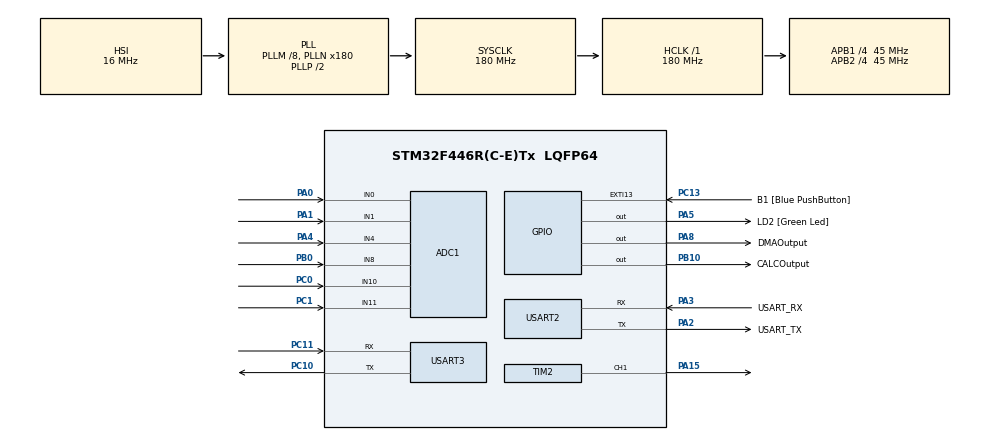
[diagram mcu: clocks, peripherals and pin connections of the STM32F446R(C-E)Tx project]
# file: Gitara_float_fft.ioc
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ADC1.Channel-0\#ChannelRegularConversion=ADC_CHANNEL_0
ADC1.Channel-1\#ChannelRegularConversion=ADC_CHANNEL_1
ADC1.Channel-2\#ChannelRegularConversion=ADC_CHANNEL_4
ADC1.Channel-3\#ChannelRegularConversion=ADC_CHANNEL_8
ADC1.Channel-4\#ChannelRegularConversion=ADC_CHANNEL_11
ADC1.Channel-5\#ChannelRegularConversion=ADC_CHANNEL_10
ADC1.ExternalTrigConv=ADC_EXTERNALTRIGCONV_T2_TRGO
ADC1.ExternalTrigConvEdge=ADC_EXTERNALTRIGCONVEDGE_RISINGFALLING
ADC1.NbrOfConversion=6
ADC1.NbrOfConversionFlag=1
ADC1.Rank-0\#ChannelRegularConversion=1
ADC1.Rank-1\#ChannelRegularConversion=2
ADC1.Rank-2\#ChannelRegularConversion=3
ADC1.Rank-3\#ChannelRegularConversion=4
ADC1.Rank-4\#ChannelRegularConversion=5
ADC1.Rank-5\#ChannelRegularConversion=6
ADC1.SamplingTime-0\#ChannelRegularConversion=ADC_SAMPLETIME_112CYCLES
ADC1.SamplingTime-1\#ChannelRegularConversion=ADC_SAMPLETIME_112CYCLES
ADC1.SamplingTime-2\#ChannelRegularConversion=ADC_SAMPLETIME_112CYCLES
ADC1.SamplingTime-3\#ChannelRegularConversion=ADC_SAMPLETIME_112CYCLES
ADC1.SamplingTime-4\#ChannelRegularConversion=ADC_SAMPLETIME_112CYCLES
ADC1.SamplingTime-5\#ChannelRegularConversion=ADC_SAMPLETIME_112CYCLES
ADC1.master=1
Dma.ADC1.0.Direction=DMA_PERIPH_TO_MEMORY
Dma.ADC1.0.FIFOMode=DMA_FIFOMODE_DISABLE
Dma.ADC1.0.Instance=DMA2_Stream0
Dma.ADC1.0.MemDataAlignment=DMA_MDATAALIGN_HALFWORD
Dma.ADC1.0.MemInc=DMA_MINC_ENABLE
Dma.ADC1.0.Mode=DMA_CIRCULAR
Dma.ADC1.0.PeriphDataAlignment=DMA_PDATAALIGN_HALFWORD
Dma.ADC1.0.PeriphInc=DMA_PINC_DISABLE
Dma.ADC1.0.Priority=DMA_PRIORITY_LOW
Dma.Request0=ADC1
Dma.Request1=USART3_TX
Dma.USART3_TX.1.Direction=DMA_MEMORY_TO_PERIPH
Dma.USART3_TX.1.FIFOMode=DMA_FIFOMODE_DISABLE
Dma.USART3_TX.1.Instance=DMA1_Stream3
Dma.USART3_TX.1.MemDataAlignment=DMA_MDATAALIGN_BYTE
Dma.USART3_TX.1.MemInc=DMA_MINC_ENABLE
Dma.USART3_TX.1.Mode=DMA_NORMAL
Dma.USART3_TX.1.PeriphDataAlignment=DMA_PDATAALIGN_BYTE
Dma.USART3_TX.1.PeriphInc=DMA_PINC_DISABLE
Dma.USART3_TX.1.Priority=DMA_PRIORITY_LOW
Mcu.Family=STM32F4
Mcu.Name=STM32F446R(C-E)Tx
Mcu.Package=LQFP64
NVIC.DMA1_Stream3_IRQn=true\:0\:0\:false\:false\:true\:false\:true\:true
NVIC.DMA2_Stream0_IRQn=true\:0\:0\:false\:false\:true\:false\:true\:true
NVIC.PriorityGroup=NVIC_PRIORITYGROUP_0
NVIC.USART2_IRQn=true\:0\:0\:false\:false\:true\:true\:true\:true
NVIC.USART3_IRQn=true\:0\:0\:false\:false\:true\:true\:true\:true
PA0-WKUP.Signal=ADCx_IN0
PA1.Signal=ADCx_IN1
PA13.GPIO_Label=TMS
PA13.Mode=Serial_Wire
PA13.Signal=SYS_JTMS-SWDIO
PA14.GPIO_Label=TCK
PA14.Mode=Serial_Wire
PA14.Signal=SYS_JTCK-SWCLK
PA15.Signal=S_TIM2_CH1_ETR
PA2.GPIO_Label=USART_TX
PA2.Mode=Asynchronous
PA2.Signal=USART2_TX
PA3.GPIO_Label=USART_RX
PA3.Mode=Asynchronous
PA3.Signal=USART2_RX
PA4.Signal=ADCx_IN4
PA5.GPIO_Label=LD2 [Green Led]
PA5.Signal=GPIO_Output
PA8.GPIO_Label=DMAOutput
PA8.GPIO_Speed=GPIO_SPEED_FREQ_MEDIUM
PA8.Signal=GPIO_Output
PB0.Signal=ADCx_IN8
PB10.GPIO_Label=CALCOutput
PB10.Signal=GPIO_Output
PB3.GPIO_Label=SWO
PB3.Signal=SYS_JTDO-SWO
PC0.Signal=ADCx_IN10
PC1.Signal=ADCx_IN11
PC10.Mode=Asynchronous
PC10.Signal=USART3_TX
PC11.Mode=Asynchronous
PC11.Signal=USART3_RX
PC13.GPIO_Label=B1 [Blue PushButton]
PC13.GPIO_ModeDefaultEXTI=GPIO_MODE_IT_FALLING
PC13.Signal=GPXTI13
PC14-OSC32_IN.Mode=LSE-External-Oscillator
PC14-OSC32_IN.Signal=RCC_OSC32_IN
PC15-OSC32_OUT.Mode=LSE-External-Oscillator
PC15-OSC32_OUT.Signal=RCC_OSC32_OUT
PH0-OSC_IN.Mode=HSE-External-Oscillator
PH0-OSC_IN.Signal=RCC_OSC_IN
PH1-OSC_OUT.Mode=HSE-External-Oscillator
PH1-OSC_OUT.Signal=RCC_OSC_OUT
ProjectManager.HeapSize=0x200
ProjectManager.StackSize=0x400
ProjectManager.TargetToolchain=STM32CubeIDE
RCC.48MHZClocksFreq_Value=84000000
RCC.AHBFreq_Value=180000000
RCC.APB1CLKDivider=RCC_HCLK_DIV4
RCC.APB1Freq_Value=45000000
RCC.APB1TimFreq_Value=90000000
RCC.APB2CLKDivider=RCC_HCLK_DIV4
RCC.APB2Freq_Value=45000000
RCC.APB2TimFreq_Value=90000000
RCC.CortexFreq_Value=180000000
RCC.FLatency-AdvancedSettings=FLASH_LATENCY_5
RCC.HCLKFreq_Value=180000000
RCC.HSE_VALUE=8000000
RCC.HSI_VALUE=16000000
RCC.PLLM=8
RCC.PLLN=180
RCC.SYSCLKFreq_VALUE=180000000
RCC.SYSCLKSource=RCC_SYSCLKSOURCE_PLLCLK
RCC.USBFreq_Value=180000000
RCC.VCOOutputFreq_Value=360000000
SH.ADCx_IN0.0=ADC1_IN0,IN0
SH.ADCx_IN1.0=ADC1_IN1,IN1
SH.ADCx_IN10.0=ADC1_IN10,IN10
SH.ADCx_IN11.0=ADC1_IN11,IN11
SH.ADCx_IN4.0=ADC1_IN4,IN4
SH.ADCx_IN8.0=ADC1_IN8,IN8
SH.S_TIM2_CH1_ETR.0=TIM2_CH1,Output Compare1 CH1
TIM2.Channel-Output\ Compare1\ CH1=TIM_CHANNEL_1
TIM2.OC1Preload=DISABLE
TIM2.OCMode_1=TIM_OCMODE_TOGGLE
TIM2.Period=149
TIM2.Prescaler=59
TIM2.Pulse-Output\ Compare1\ CH1=0
TIM2.TIM_MasterOutputTrigger=TIM_TRGO_UPDATE
USART2.VirtualMode=VM_ASYNC
USART3.VirtualMode=VM_ASYNC
VP_TIM2_VS_ClockSourceINT.Mode=Internal
board=NUCLEO-F446RE

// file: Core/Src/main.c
/* USER CODE BEGIN Header */
/**
  ******************************************************************************
  * @file           : main.c
  * @brief          : Main program body
  ******************************************************************************
  * @attention
  *
  * Copyright (c) 2023 STMicroelectronics.
  * All rights reserved.
  *
  * This software is licensed under terms that can be found in the LICENSE file
  * in the root directory of this software component.
  * If no LICENSE file comes with this software, it is provided AS-IS.
  *
  ******************************************************************************
  */
/* USER CODE END Header */
#include "main.h"

/* USER CODE BEGIN Includes */
#include <stdio.h>
#include <stdlib.h>
#define ARM_MATH_CM4
#include "arm_math.h"
/* USER CODE END Includes */

ADC_HandleTypeDef hadc1;
DMA_HandleTypeDef hdma_adc1;

TIM_HandleTypeDef htim2;

UART_HandleTypeDef huart2;
UART_HandleTypeDef huart3;
DMA_HandleTypeDef hdma_usart3_tx;

/* USER CODE BEGIN PV */
#define DMABUFLEN 3076
#define BUFLEN 256
#define FFTBUFLEN 2048
volatile static uint16_t dmaBuffer[DMABUFLEN] = {0};
float32_t hannWindow1[BUFLEN];
float32_t hannWindow2[2*BUFLEN];
float32_t hannWindow3[BUFLEN/2];
uint16_t signal0[2*BUFLEN];
float32_t signal0filtered[2*BUFLEN];
uint16_t signal1[2*BUFLEN];
float32_t signal1filtered[2*BUFLEN];
uint16_t signal2[2*BUFLEN];
float32_t signal2filtered[2*BUFLEN];
uint16_t signal3[BUFLEN/2];
float32_t signal3filtered[BUFLEN/2];
uint16_t signal4[BUFLEN];
float32_t signal4filtered[BUFLEN];
uint16_t signal5[BUFLEN];
float32_t signal5filtered[BUFLEN];
uint16_t signalbuffer0[2*BUFLEN];
uint16_t signalbuffer1[2*BUFLEN];
uint16_t signalbuffer2[2*BUFLEN];
uint16_t signalbuffer3[2*BUFLEN];
uint16_t signalbuffer4[2*BUFLEN];
uint16_t signalbuffer5[2*BUFLEN];
float32_t signalfilteredbuffer0[2*BUFLEN];
float32_t signalfilteredbuffer1[2*BUFLEN];
float32_t signalfilteredbuffer2[2*BUFLEN];
float32_t signalfilteredbuffer3[2*BUFLEN];
float32_t signalfilteredbuffer4[2*BUFLEN];
float32_t signalfilteredbuffer5[2*BUFLEN];
uint16_t maxpp[6];
uint16_t maxpp0 = 0;
uint16_t maxpp1 = 0;
uint16_t maxpp2 = 0;
uint16_t maxpp3 = 0;
uint16_t maxpp4 = 0;
uint16_t maxpp5 = 0;
uint16_t fund[6];
float32_t fundamental0 = 0;
float32_t fundamental1 = 0;
float32_t fundamental2 = 0;
float32_t fundamental3 = 0;
float32_t fundamental4 = 0;
float32_t fundamental5 = 0;
uint8_t signalnumber = 0;
uint32_t print = 0;

uint16_t FreqNotes[47] = {
  78, 82, 87, 93, 98, 104, 110, 116, 124, 130, 139, 147, 155, 165, 175, 185, 196, 208, 220, 233, 247, 262, 277, 293, 311, 330, 349, 370, 392,
  415, 440, 466, 494, 523, 554, 587, 622, 659, 698, 740, 784, 831, 880, 932, 988, 1047, 1109
};
uint16_t FreqRange[46];
uint16_t NoteNew[6];
uint16_t NoteOld[6];
uint16_t maxppOld[6];
int16_t Delta[6];
uint8_t txBuffer[6];
//uint16_t Treshold[6] = {1000, 1000, 1000, 1000, 1000, 1000};
uint16_t Treshold[6] = {800, 800, 800, 400, 750, 650};

uint8_t FIR_LENGHT = 31;
float32_t fir_coefficients10k[31]  = {-0.0021043, 0.0000019, 0.0046466, -0.0000007, -0.0094219, 0.0000029, 0.0172049, -0.0000020, -0.0297785, 0.0000052, 0.0515218, -0.0000041, -0.0984164, 0.0000048, 0.3156787, 0.4999957, 0.3156787, 0.0000048, -0.0984164, -0.0000041, 0.0515218, 0.0000052, -0.0297785, -0.0000020, 0.0172049, 0.0000029, -0.0094219, -0.0000007, 0.0046466, 0.0000019, -0.0021043};
float32_t fir_coefficients5k[31]  =  {0.0005669, -0.0002630, -0.0022233, -0.0038547, -0.0018613, 0.0053228, 0.0135453, 0.0133131, -0.0027602, -0.0295939, -0.0460559, -0.0251788, 0.0457091, 0.1495368, 0.2430896, 0.2807522, 0.2430896, 0.1495368, 0.0457091, -0.0251788, -0.0460559, -0.0295939, -0.0027602, 0.0133131, 0.0135453, 0.0053228, -0.0018613, -0.0038547, -0.0022233, -0.00026530, 0.0005669};
float32_t fir_coefficients2_5k[31] = {0.0064131, 0.0057191, 0.0051066, 0.0013561, -0.0056292, -0.0145003, -0.0224276, -0.0255772, -0.0201251, -0.0035005, 0.0244877, 0.0610609, 0.1007693, 0.1365633, 0.1614632, 0.1703842, 0.1614632, 0.1365633, 0.1007693, 0.0610609, 0.0244877, -0.0035005, -0.0201251, -0.0255772, -0.0224276, -0.0145003, -0.0056292, 0.0013561, 0.0051066, 0.0057191, 0.0064131};
arm_fir_instance_f32 fir_instance0;
float32_t fir_in_arm0;
float32_t fir_out_arm0;
float32_t fir_state0[31];
arm_fir_instance_f32 fir_instance1;
float32_t fir_in_arm1;
float32_t fir_out_arm1;
float32_t fir_state1[31];
arm_fir_instance_f32 fir_instance2;
float32_t fir_in_arm2;
float32_t fir_out_arm2;
float32_t fir_state2[31];
arm_fir_instance_f32 fir_instance3;
float32_t fir_in_arm3;
float32_t fir_out_arm3;
float32_t fir_state3[31];
arm_fir_instance_f32 fir_instance4;
float32_t fir_in_arm4;
float32_t fir_out_arm4;
float32_t fir_state4[31];
arm_fir_instance_f32 fir_instance5;
float32_t fir_in_arm5;
float32_t fir_out_arm5;
float32_t fir_state5[31];
/* USER CODE END PV */

void SystemClock_Config(void);
static void MX_GPIO_Init(void);
static void MX_DMA_Init(void);
static void MX_USART2_UART_Init(void);
static void MX_ADC1_Init(void);
static void MX_TIM2_Init(void);
static void MX_USART3_UART_Init(void);
/* USER CODE BEGIN PFP */
void filter(uint16_t inputArray[], uint16_t size, float32_t coefficients[], uint16_t outputArray[], uint16_t lastSamples[]);
void calculateCORR(uint16_t inputArray[], uint16_t size, uint16_t* maxpp, float32_t* fundamental, uint16_t fs);
void calculateFFT(float32_t inputArray[], uint16_t size, uint16_t* maxpp, float32_t* fundamental, uint16_t fs);
void calculateZC(uint16_t inputArray[], uint16_t size, uint16_t* maxpp, float32_t* fundamental, uint16_t fs);
void calculateNoll(uint16_t inputArray[], uint16_t size, uint16_t* maxpp, float32_t* fundamental, uint16_t fs);
void FundamentalToNote(uint16_t FundamentalNew[], uint16_t NoteNew[6], uint16_t FreqRange[46]);
/* USER CODE END PFP */

/* USER CODE BEGIN 0 */
int __io_putchar(int ch)
{
  if (ch == '\n') {
    __io_putchar('\r');
  }

  HAL_UART_Transmit(&huart2, (uint8_t*)&ch, 1, HAL_MAX_DELAY);

  return 1;
}

void calculateFFT(float32_t inputArray[], uint16_t size, uint16_t* maxpp, float32_t* fundamental, uint16_t fs) {
	// Zmiana stanu na pinie PB10 Debug
	HAL_GPIO_TogglePin(CALCOutput_GPIO_Port, CALCOutput_Pin);
	//Przekonwertowanie sygnału z uint16 na float32
    float32_t signal_float32[size];
	for (int i = 0; i < size; i++){
		signal_float32[i] = inputArray[i];
	}
	//Obliczenie wartości średniej sygnału/składowej stałej oraz jej odjęcie
    float32_t mean = 0.0f;
    arm_mean_f32(signal_float32, size,  &mean);
    arm_offset_f32(signal_float32, -mean, signal_float32, size);
    //Nałożenie okna Hanna na sygnał
    float32_t signal_filtered[size];
	if(size==BUFLEN){
		arm_mult_f32(signal_float32, hannWindow1, signal_filtered, size);
	}else if(size==2*BUFLEN)
		arm_mult_f32(signal_float32, hannWindow2, signal_filtered, size);
	else arm_mult_f32(signal_float32, hannWindow3, signal_filtered, size);
	//Znalezienie wartości międzyszczytowych
	float32_t max;
	float32_t min;
	uint32_t maxIndex;
	uint32_t minIndex;
	arm_max_f32(signal_filtered, size, &max, &maxIndex);
	arm_min_f32(signal_filtered, size, &min, &minIndex);

	//Obliczenie FFT
	float32_t signal_fft[FFTBUFLEN] = {0};
	for(int i = 0; i<size; i++)
		signal_fft[i]=signal_filtered[i];

	float32_t fft_Bufor[FFTBUFLEN];
	arm_rfft_fast_instance_f32 rfft_inst;
	arm_rfft_fast_init_f32(&rfft_inst, FFTBUFLEN);

	arm_rfft_fast_f32(&rfft_inst, signal_fft, fft_Bufor, 0);

	//Obliczenie amplitud poszczególnych prążków
	float32_t fft_wynik[FFTBUFLEN/2];
		float32_t fft_max = 0;
		uint16_t fft_max_index = 0;
		for(int i = 12; i < (FFTBUFLEN/2); i++){
			fft_wynik[i]=sqrtf((fft_Bufor[2*i]*fft_Bufor[2*i])+(fft_Bufor[2*i+1]*fft_Bufor[2*i+1]));
			if(fft_wynik[i]>fft_max){
				fft_max=fft_wynik[i];
				fft_max_index = i;
			}
		}
		//Normalizacja wyniku FFT
		for(int i = 0; i < (FFTBUFLEN/2); i++){
				fft_wynik[i]=fft_wynik[i]/fft_max;
			}
//		for(int i = 0; i < (FFTBUFLEN/2); i++){
//					if(fft_wynik[i]< 0.3)
//						fft_wynik[i] = 0;
//				}
		//Odnalezienie indeksu częstotliwości podstawowej
		if(fft_max_index > 0){
		while ((fft_wynik[fft_max_index / 2] > 0.50) || (fft_wynik[fft_max_index / 2 - 1] > 0.50) || (fft_wynik[fft_max_index / 2 + 1] > 0.50)) {
			fft_max_index /= 2;
		}
		}
		while (fft_max_index > 0
				&& fft_wynik[fft_max_index + 1] > fft_wynik[fft_max_index]) {
			fft_max_index++;
		}
		while (fft_max_index > 0
				&& fft_wynik[fft_max_index - 1] > fft_wynik[fft_max_index]) {
			fft_max_index--;
		}
		if(fft_max_index > 0){
		while ((fft_wynik[fft_max_index / 3] > 0.50) || (fft_wynik[fft_max_index / 3 - 1] > 0.50) || (fft_wynik[fft_max_index / 3 + 1] > 0.50)) {
			fft_max_index /= 3;
		}
		}
		while (fft_max_index > 0
				&& fft_wynik[fft_max_index + 1] > fft_wynik[fft_max_index]) {
			fft_max_index++;
		}
		while (fft_max_index > 0
				&& fft_wynik[fft_max_index - 1] > fft_wynik[fft_max_index]) {
			fft_max_index--;
		}
		if(fft_max_index > 0){
		while ((fft_wynik[fft_max_index / 4] > 0.50) || (fft_wynik[fft_max_index / 4 - 1] > 0.50) || (fft_wynik[fft_max_index / 4 + 1] > 0.50)) {
			fft_max_index /= 4;
		}
		}
		while (fft_max_index > 0
				&& fft_wynik[fft_max_index + 1] > fft_wynik[fft_max_index]) {
			fft_max_index++;
		}
		while (fft_max_index > 0
				&& fft_wynik[fft_max_index - 1] > fft_wynik[fft_max_index]) {
			fft_max_index--;
		}
		float32_t fundamental_freq = (((float32_t)fft_max_index) * (float32_t)fs / (float32_t)FFTBUFLEN);

		int16_t peak_to_peak_value = max - min;
		*maxpp = peak_to_peak_value;
		*fundamental = fundamental_freq;

//	if (peak_to_peak_value > 1500) {
//		printf("fft\n");
//		for (int i = 0; i < FFTBUFLEN / 2; i++)
//			printf("%.2f,", fft_wynik[i]);
//		printf("\nkoniec fft\n");
//		printf("max_index = %lu \n", fft_max_index);
//		printf("signalfiltered\n");
//		for (int i = 0; i < size; i++)
//			printf("%.2f,", signal_filtered[i]);
//		printf("\nkoniec signalfiltered\n");
//	}

//		if(print > 0){
//	printf("fft\n");
//	for (int i = 0; i < FFTBUFLEN/2; i++)
//		printf("%.2f,", fft_wynik[i]);
//	printf("\nkoniec fft\n");
//	printf("max_index = %lu \n", fft_max_index);
//	printf("signalfiltered\n");
//	for (int i = 0; i < size; i++)
//		printf("%.2f,", signal_filtered[i]);
//	printf("\nkoniec signalfiltered\n");
//		}
}

void FundamentalToNote(uint16_t FundamentalNew[], uint16_t NoteNew[6], uint16_t FreqRange[46]) {
  for (int i = 0; i < 6; i++) {
    int note = 0;
    for (int j = 0; j < 46; j++) {
      if (FundamentalNew[i] >= FreqRange[j] && FundamentalNew[i] < FreqRange[j + 1]) {
        note = j;  // Przypisz odpowiednią notę
        break;  // Przerwij pętlę po znalezieniu odpowiedniego zakresu
      }
    }

    NoteNew[i] = note;
  }
}
/* USER CODE END 0 */

int main(void)
{

  /* MCU Configuration--------------------------------------------------------*/

  /* Reset of all peripherals, Initializes the Flash interface and the Systick. */
  HAL_Init();

  /* Configure the system clock */
  SystemClock_Config();

  /* Initialize all configured peripherals */
  MX_GPIO_Init();
  MX_DMA_Init();
  MX_USART2_UART_Init();
  MX_ADC1_Init();
  MX_TIM2_Init();
  MX_USART3_UART_Init();
  /* USER CODE BEGIN 2 */
  arm_fir_init_f32(&fir_instance0, FIR_LENGHT, fir_coefficients10k, fir_state0, 1);
  arm_fir_init_f32(&fir_instance1, FIR_LENGHT, fir_coefficients10k, fir_state1, 1);
  arm_fir_init_f32(&fir_instance2, FIR_LENGHT, fir_coefficients10k, fir_state2, 1);
  arm_fir_init_f32(&fir_instance3, FIR_LENGHT, fir_coefficients2_5k, fir_state3, 1);
  arm_fir_init_f32(&fir_instance4, FIR_LENGHT, fir_coefficients5k, fir_state4, 1);
  arm_fir_init_f32(&fir_instance5, FIR_LENGHT, fir_coefficients5k, fir_state5, 1);

  for(int i = 0; i < 46; i++){
	  FreqRange[i] = (FreqNotes[i] + FreqNotes[i+1])/2;
  }
  for(int i = 0; i < BUFLEN; i++){
	  hannWindow1[i] = (0.5 - (0.5 * cos ( (2.0 * PI * i) / (BUFLEN - 1))));
  }
  for(int i = 0; i < 2*BUFLEN; i++){
  	  hannWindow2[i] = (0.5 - (0.5 * cos ( (2.0 * PI * i) / (2*BUFLEN - 1))));
  }
  for(int i = 0; i < BUFLEN/2; i++){
	  hannWindow3[i] = (0.5 - (0.5 * cos ( (2.0 * PI * i) / (BUFLEN/2 - 1))));
  }

  HAL_ADC_Start_DMA(&hadc1, (uint32_t *)dmaBuffer, DMABUFLEN);
    HAL_Delay(10);
    HAL_TIM_Base_Start(&htim2);
    HAL_TIM_OC_Start(&htim2, TIM_CHANNEL_1);
  /* USER CODE END 2 */

  /* Infinite loop */
  while (1)
  {

  }
}

void SystemClock_Config(void)
{
  RCC_OscInitTypeDef RCC_OscInitStruct = {0};
  RCC_ClkInitTypeDef RCC_ClkInitStruct = {0};

  /** Configure the main internal regulator output voltage
  */
  __HAL_RCC_PWR_CLK_ENABLE();
  __HAL_PWR_VOLTAGESCALING_CONFIG(PWR_REGULATOR_VOLTAGE_SCALE1);

  /** Initializes the RCC Oscillators according to the specified parameters
  * in the RCC_OscInitTypeDef structure.
  */
  RCC_OscInitStruct.OscillatorType = RCC_OSCILLATORTYPE_HSI;
  RCC_OscInitStruct.HSIState = RCC_HSI_ON;
  RCC_OscInitStruct.HSICalibrationValue = RCC_HSICALIBRATION_DEFAULT;
  RCC_OscInitStruct.PLL.PLLState = RCC_PLL_ON;
  RCC_OscInitStruct.PLL.PLLSource = RCC_PLLSOURCE_HSI;
  RCC_OscInitStruct.PLL.PLLM = 8;
  RCC_OscInitStruct.PLL.PLLN = 180;
  RCC_OscInitStruct.PLL.PLLP = RCC_PLLP_DIV2;
  RCC_OscInitStruct.PLL.PLLQ = 2;
  RCC_OscInitStruct.PLL.PLLR = 2;
  if (HAL_RCC_OscConfig(&RCC_OscInitStruct) != HAL_OK)
  {
    Error_Handler();
  }

  /** Activate the Over-Drive mode
  */
  if (HAL_PWREx_EnableOverDrive() != HAL_OK)
  {
    Error_Handler();
  }

  /** Initializes the CPU, AHB and APB buses clocks
  */
  RCC_ClkInitStruct.ClockType = RCC_CLOCKTYPE_HCLK|RCC_CLOCKTYPE_SYSCLK
                              |RCC_CLOCKTYPE_PCLK1|RCC_CLOCKTYPE_PCLK2;
  RCC_ClkInitStruct.SYSCLKSource = RCC_SYSCLKSOURCE_PLLCLK;
  RCC_ClkInitStruct.AHBCLKDivider = RCC_SYSCLK_DIV1;
  RCC_ClkInitStruct.APB1CLKDivider = RCC_HCLK_DIV4;
  RCC_ClkInitStruct.APB2CLKDivider = RCC_HCLK_DIV4;

  if (HAL_RCC_ClockConfig(&RCC_ClkInitStruct, FLASH_LATENCY_5) != HAL_OK)
  {
    Error_Handler();
  }
}

static void MX_ADC1_Init(void)
{

  ADC_ChannelConfTypeDef sConfig = {0};

  /** Configure the global features of the ADC (Clock, Resolution, Data Alignment and number of conversion)
  */
  hadc1.Instance = ADC1;
  hadc1.Init.ClockPrescaler = ADC_CLOCK_SYNC_PCLK_DIV2;
  hadc1.Init.Resolution = ADC_RESOLUTION_12B;
  hadc1.Init.ScanConvMode = ENABLE;
  hadc1.Init.ContinuousConvMode = DISABLE;
  hadc1.Init.DiscontinuousConvMode = DISABLE;
  hadc1.Init.ExternalTrigConvEdge = ADC_EXTERNALTRIGCONVEDGE_RISINGFALLING;
  hadc1.Init.ExternalTrigConv = ADC_EXTERNALTRIGCONV_T2_TRGO;
  hadc1.Init.DataAlign = ADC_DATAALIGN_RIGHT;
  hadc1.Init.NbrOfConversion = 6;
  hadc1.Init.DMAContinuousRequests = DISABLE;
  hadc1.Init.EOCSelection = ADC_EOC_SINGLE_CONV;
  if (HAL_ADC_Init(&hadc1) != HAL_OK)
  {
    Error_Handler();
  }

  /** Configure for the selected ADC regular channel its corresponding rank in the sequencer and its sample time.
  */
  sConfig.Channel = ADC_CHANNEL_0;
  sConfig.Rank = 1;
  sConfig.SamplingTime = ADC_SAMPLETIME_112CYCLES;
  if (HAL_ADC_ConfigChannel(&hadc1, &sConfig) != HAL_OK)
  {
    Error_Handler();
  }

  /** Configure for the selected ADC regular channel its corresponding rank in the sequencer and its sample time.
  */
  sConfig.Channel = ADC_CHANNEL_1;
  sConfig.Rank = 2;
  if (HAL_ADC_ConfigChannel(&hadc1, &sConfig) != HAL_OK)
  {
    Error_Handler();
  }

  /** Configure for the selected ADC regular channel its corresponding rank in the sequencer and its sample time.
  */
  sConfig.Channel = ADC_CHANNEL_4;
  sConfig.Rank = 3;
  if (HAL_ADC_ConfigChannel(&hadc1, &sConfig) != HAL_OK)
  {
    Error_Handler();
  }

  /** Configure for the selected ADC regular channel its corresponding rank in the sequencer and its sample time.
  */
  sConfig.Channel = ADC_CHANNEL_8;
  sConfig.Rank = 4;
  if (HAL_ADC_ConfigChannel(&hadc1, &sConfig) != HAL_OK)
  {
    Error_Handler();
  }

  /** Configure for the selected ADC regular channel its corresponding rank in the sequencer and its sample time.
  */
  sConfig.Channel = ADC_CHANNEL_11;
  sConfig.Rank = 5;
  if (HAL_ADC_ConfigChannel(&hadc1, &sConfig) != HAL_OK)
  {
    Error_Handler();
  }

  /** Configure for the selected ADC regular channel its corresponding rank in the sequencer and its sample time.
  */
  sConfig.Channel = ADC_CHANNEL_10;
  sConfig.Rank = 6;
  if (HAL_ADC_ConfigChannel(&hadc1, &sConfig) != HAL_OK)
  {
    Error_Handler();
  }

}

static void MX_TIM2_Init(void)
{

  TIM_ClockConfigTypeDef sClockSourceConfig = {0};
  TIM_MasterConfigTypeDef sMasterConfig = {0};
  TIM_OC_InitTypeDef sConfigOC = {0};

  htim2.Instance = TIM2;
  htim2.Init.Prescaler = 59;
  htim2.Init.CounterMode = TIM_COUNTERMODE_UP;
  htim2.Init.Period = 149;
  htim2.Init.ClockDivision = TIM_CLOCKDIVISION_DIV1;
  htim2.Init.AutoReloadPreload = TIM_AUTORELOAD_PRELOAD_DISABLE;
  if (HAL_TIM_Base_Init(&htim2) != HAL_OK)
  {
    Error_Handler();
  }
  sClockSourceConfig.ClockSource = TIM_CLOCKSOURCE_INTERNAL;
  if (HAL_TIM_ConfigClockSource(&htim2, &sClockSourceConfig) != HAL_OK)
  {
    Error_Handler();
  }
  if (HAL_TIM_OC_Init(&htim2) != HAL_OK)
  {
    Error_Handler();
  }
  sMasterConfig.MasterOutputTrigger = TIM_TRGO_UPDATE;
  sMasterConfig.MasterSlaveMode = TIM_MASTERSLAVEMODE_DISABLE;
  if (HAL_TIMEx_MasterConfigSynchronization(&htim2, &sMasterConfig) != HAL_OK)
  {
    Error_Handler();
  }
  sConfigOC.OCMode = TIM_OCMODE_TOGGLE;
  sConfigOC.Pulse = 0;
  sConfigOC.OCPolarity = TIM_OCPOLARITY_HIGH;
  sConfigOC.OCFastMode = TIM_OCFAST_DISABLE;
  if (HAL_TIM_OC_ConfigChannel(&htim2, &sConfigOC, TIM_CHANNEL_1) != HAL_OK)
  {
    Error_Handler();
  }
  HAL_TIM_MspPostInit(&htim2);

}

static void MX_USART2_UART_Init(void)
{

  huart2.Instance = USART2;
  huart2.Init.BaudRate = 115200;
  huart2.Init.WordLength = UART_WORDLENGTH_8B;
  huart2.Init.StopBits = UART_STOPBITS_1;
  huart2.Init.Parity = UART_PARITY_NONE;
  huart2.Init.Mode = UART_MODE_TX_RX;
  huart2.Init.HwFlowCtl = UART_HWCONTROL_NONE;
  huart2.Init.OverSampling = UART_OVERSAMPLING_16;
  if (HAL_UART_Init(&huart2) != HAL_OK)
  {
    Error_Handler();
  }

}

static void MX_USART3_UART_Init(void)
{

  huart3.Instance = USART3;
  huart3.Init.BaudRate = 115200;
  huart3.Init.WordLength = UART_WORDLENGTH_8B;
  huart3.Init.StopBits = UART_STOPBITS_1;
  huart3.Init.Parity = UART_PARITY_NONE;
  huart3.Init.Mode = UART_MODE_TX_RX;
  huart3.Init.HwFlowCtl = UART_HWCONTROL_NONE;
  huart3.Init.OverSampling = UART_OVERSAMPLING_16;
  if (HAL_UART_Init(&huart3) != HAL_OK)
  {
    Error_Handler();
  }

}

static void MX_DMA_Init(void)
{

  /* DMA controller clock enable */
  __HAL_RCC_DMA2_CLK_ENABLE();
  __HAL_RCC_DMA1_CLK_ENABLE();

  /* DMA interrupt init */
  /* DMA1_Stream3_IRQn interrupt configuration */
  HAL_NVIC_SetPriority(DMA1_Stream3_IRQn, 0, 0);
  HAL_NVIC_EnableIRQ(DMA1_Stream3_IRQn);
  /* DMA2_Stream0_IRQn interrupt configuration */
  HAL_NVIC_SetPriority(DMA2_Stream0_IRQn, 0, 0);
  HAL_NVIC_EnableIRQ(DMA2_Stream0_IRQn);

}

static void MX_GPIO_Init(void)
{
  GPIO_InitTypeDef GPIO_InitStruct = {0};

  /* GPIO Ports Clock Enable */
  __HAL_RCC_GPIOC_CLK_ENABLE();
  __HAL_RCC_GPIOH_CLK_ENABLE();
  __HAL_RCC_GPIOA_CLK_ENABLE();
  __HAL_RCC_GPIOB_CLK_ENABLE();

  /*Configure GPIO pin Output Level */
  HAL_GPIO_WritePin(GPIOA, LD2_Pin|DMAOutput_Pin, GPIO_PIN_RESET);

  /*Configure GPIO pin Output Level */
  HAL_GPIO_WritePin(CALCOutput_GPIO_Port, CALCOutput_Pin, GPIO_PIN_RESET);

  /*Configure GPIO pin : B1_Pin */
  GPIO_InitStruct.Pin = B1_Pin;
  GPIO_InitStruct.Mode = GPIO_MODE_IT_FALLING;
  GPIO_InitStruct.Pull = GPIO_NOPULL;
  HAL_GPIO_Init(B1_GPIO_Port, &GPIO_InitStruct);

  /*Configure GPIO pin : LD2_Pin */
  GPIO_InitStruct.Pin = LD2_Pin;
  GPIO_InitStruct.Mode = GPIO_MODE_OUTPUT_PP;
  GPIO_InitStruct.Pull = GPIO_NOPULL;
  GPIO_InitStruct.Speed = GPIO_SPEED_FREQ_LOW;
  HAL_GPIO_Init(LD2_GPIO_Port, &GPIO_InitStruct);

  /*Configure GPIO pin : CALCOutput_Pin */
  GPIO_InitStruct.Pin = CALCOutput_Pin;
  GPIO_InitStruct.Mode = GPIO_MODE_OUTPUT_PP;
  GPIO_InitStruct.Pull = GPIO_NOPULL;
  GPIO_InitStruct.Speed = GPIO_SPEED_FREQ_LOW;
  HAL_GPIO_Init(CALCOutput_GPIO_Port, &GPIO_InitStruct);

  /*Configure GPIO pin : DMAOutput_Pin */
  GPIO_InitStruct.Pin = DMAOutput_Pin;
  GPIO_InitStruct.Mode = GPIO_MODE_OUTPUT_PP;
  GPIO_InitStruct.Pull = GPIO_NOPULL;
  GPIO_InitStruct.Speed = GPIO_SPEED_FREQ_MEDIUM;
  HAL_GPIO_Init(DMAOutput_GPIO_Port, &GPIO_InitStruct);

}

/* USER CODE BEGIN 4 */
void HAL_ADC_ConvCpltCallback(ADC_HandleTypeDef* hadc)
{
	//Zmiana stanu na pinie D7
	HAL_GPIO_TogglePin(DMAOutput_GPIO_Port, DMAOutput_Pin);

	//Rozdzielenie sygnałów do osobnych tablic
	for(uint32_t i = 0; i < 2 * BUFLEN; i++){
		signalbuffer0[i] = dmaBuffer[6 * i];
		signalbuffer1[i] = dmaBuffer[6 * i + 1];
		signalbuffer2[i] = dmaBuffer[6 * i + 2];
		signalbuffer3[i] = dmaBuffer[6 * i + 3];
		signalbuffer4[i] = dmaBuffer[6 * i + 4];
		signalbuffer5[i] = dmaBuffer[6 * i + 5];
	}

	HAL_GPIO_TogglePin(DMAOutput_GPIO_Port, DMAOutput_Pin);
	//Przefiltrowanie sygnałów
	for(int i = 0; i < 2 * BUFLEN; i++){
		fir_in_arm0 = (float32_t) signalbuffer0[i];
		fir_in_arm1 = (float32_t) signalbuffer1[i];
		fir_in_arm2 = (float32_t) signalbuffer2[i];
		fir_in_arm3 = (float32_t) signalbuffer3[i];
		fir_in_arm4 = (float32_t) signalbuffer4[i];
		fir_in_arm5 = (float32_t) signalbuffer5[i];
		arm_fir_f32(&fir_instance0, &fir_in_arm0, &fir_out_arm0, 1);
		arm_fir_f32(&fir_instance1, &fir_in_arm1, &fir_out_arm1, 1);
		arm_fir_f32(&fir_instance2, &fir_in_arm2, &fir_out_arm2, 1);
		arm_fir_f32(&fir_instance3, &fir_in_arm3, &fir_out_arm3, 1);
		arm_fir_f32(&fir_instance4, &fir_in_arm4, &fir_out_arm4, 1);
		arm_fir_f32(&fir_instance5, &fir_in_arm5, &fir_out_arm5, 1);
		signalfilteredbuffer0[i] = fir_out_arm0;
		signalfilteredbuffer1[i] = fir_out_arm1;
		signalfilteredbuffer2[i] = fir_out_arm2;
		signalfilteredbuffer3[i] = fir_out_arm3;
		signalfilteredbuffer4[i] = fir_out_arm4;
		signalfilteredbuffer5[i] = fir_out_arm5;
	}
	HAL_GPIO_TogglePin(DMAOutput_GPIO_Port, DMAOutput_Pin);
	//Decymacja
	for (int i = 0; i < 2 * BUFLEN; i++) {
		signal0filtered[i] = signalfilteredbuffer0[i];
		signal1filtered[i] = signalfilteredbuffer1[i];
		signal2filtered[i] = signalfilteredbuffer2[i];
	}
	for (int i = 0; i < BUFLEN; i++) {
		signal4filtered[i] = signalfilteredbuffer4[i*2];
		signal5filtered[i] = signalfilteredbuffer5[i*2];
	}
	for (int i = 0; i < BUFLEN / 2; i++){
		signal3filtered[i] = signalfilteredbuffer3[i*4];
	}

	//Wystartowanie kolejnego cyklu próbkowania
	HAL_ADC_Start_DMA(&hadc1, (uint32_t*) dmaBuffer, DMABUFLEN);

		//Obliczenie częstotliwości podstawowej
		calculateFFT(signal0filtered, 2*BUFLEN, &maxpp0, &fundamental0, 10000);
		fund[0] = (uint16_t)fundamental0;
		maxpp[0] = maxpp0;

		calculateFFT(signal1filtered, 2*BUFLEN, &maxpp1, &fundamental1, 10000);
		fund[1] = (uint16_t)fundamental1;
		maxpp[1] = maxpp1;

		calculateFFT(signal2filtered, 2*BUFLEN, &maxpp2, &fundamental2, 10000);
		fund[2] = (uint16_t)fundamental2;
		maxpp[2] = maxpp2;

		calculateFFT(signal3filtered, BUFLEN/2, &maxpp3, &fundamental3, 2500);
		fund[3] = (uint16_t) fundamental3;
		maxpp[3] = maxpp3;

		calculateFFT(signal4filtered, BUFLEN, &maxpp4, &fundamental4, 5000);
		fund[4] = (uint16_t)fundamental4;
		maxpp[4] = maxpp4;

		calculateFFT(signal5filtered, BUFLEN, &maxpp5, &fundamental5, 5000);
		fund[5] = (uint16_t)fundamental5;
		maxpp[5] = maxpp5;

	 //Jeśli fund[i] i fund[j] mają takie same wartości, wyzeruj mniejsze maxpp (crosstalk)
	for (int i = 0; i < 6; i++) {
	    for (int j = i + 1; j < 6; j++) {
	        if (fund[i] == fund[j]) {
	            if (maxpp[i] < maxpp[j]) {
	                maxpp[i] = 0;
	            } else {
	                maxpp[j] = 0;
	            }
	        }
	    }
	}

	uint16_t data[12];
	data[0] = fund[3];
	data[1] = fund[5];
	data[2] = fund[4];
	data[3] = fund[0];
	data[4] = fund[1];
	data[5] = fund[2];
	data[6] = maxpp[3];
	data[7] = maxpp[5];
	data[8] = maxpp[4];
	data[9] = maxpp[0];
	data[10] = maxpp[1];
	data[11] = maxpp[2];

	HAL_UART_Transmit_DMA(&huart3, (uint8_t *)data, sizeof(data) * 2);
	HAL_UART_Transmit(&huart3, (uint8_t *)data, 24, 10);

	FundamentalToNote(fund, NoteNew, FreqRange);
	for (int i =0; i<6; i++){
			Delta[i] = maxpp[i] - maxppOld[i];
			if(Delta[i]<0)
				Delta[i]=0;
			maxppOld[i] = maxpp[i];
		}
		for (int i = 0; i < 6; i++) {
			if (Delta[i] <= Treshold[i]) {
				if (NoteNew[i] != 0) {
					txBuffer[0] = 128;
					txBuffer[1] = NoteOld[i] + 39;
					txBuffer[2] = 127;
					txBuffer[3] = 144;
					txBuffer[4] = NoteNew[i] + 39;
					txBuffer[5] = 127;
					if (txBuffer[4] == 39) {
						txBuffer[5] = 1;
					}
					NoteOld[i] = NoteNew[i];
					HAL_UART_Transmit(&huart2, txBuffer, 6, 10);
				}
			}
		}

}

void HAL_ADC_ConvHalfCpltCallback(ADC_HandleTypeDef* hadc)
{
	//Zmiana stanu na pinie D7
	HAL_GPIO_TogglePin(DMAOutput_GPIO_Port, DMAOutput_Pin);

	//Przesunięcie próbek
	for(int i = 0; i < BUFLEN; i++){
		signalbuffer0[i] = signalbuffer0[i + BUFLEN];
		signalbuffer1[i] = signalbuffer1[i + BUFLEN];
		signalbuffer2[i] = signalbuffer2[i + BUFLEN];
		signalbuffer3[i] = signalbuffer3[i + BUFLEN];
		signalbuffer4[i] = signalbuffer4[i + BUFLEN];
		signalbuffer5[i] = signalbuffer5[i + BUFLEN];
	}

	//Rozdzielenie sygnałów do osobnych tablic
	for(int i = 0; i < BUFLEN; i++){
		signalbuffer0[i + BUFLEN] = dmaBuffer[6 * i];
		signalbuffer1[i + BUFLEN] = dmaBuffer[6 * i + 1];
		signalbuffer2[i + BUFLEN] = dmaBuffer[6 * i + 2];
		signalbuffer3[i + BUFLEN] = dmaBuffer[6 * i + 3];
		signalbuffer4[i + BUFLEN] = dmaBuffer[6 * i + 4];
		signalbuffer5[i + BUFLEN] = dmaBuffer[6 * i + 5];
	}
	//Przefiltrowanie sygnałów
	HAL_GPIO_TogglePin(DMAOutput_GPIO_Port, DMAOutput_Pin);
	for(int i = 0; i < 2 * BUFLEN; i++){
		fir_in_arm0 = (float32_t) signalbuffer0[i];
		fir_in_arm1 = (float32_t) signalbuffer1[i];
		fir_in_arm2 = (float32_t) signalbuffer2[i];
		fir_in_arm3 = (float32_t) signalbuffer3[i];
		fir_in_arm4 = (float32_t) signalbuffer4[i];
		fir_in_arm5 = (float32_t) signalbuffer5[i];
		arm_fir_f32(&fir_instance0, &fir_in_arm0, &fir_out_arm0, 1);
		arm_fir_f32(&fir_instance1, &fir_in_arm1, &fir_out_arm1, 1);
		arm_fir_f32(&fir_instance2, &fir_in_arm2, &fir_out_arm2, 1);
		arm_fir_f32(&fir_instance3, &fir_in_arm3, &fir_out_arm3, 1);
		arm_fir_f32(&fir_instance4, &fir_in_arm4, &fir_out_arm4, 1);
		arm_fir_f32(&fir_instance5, &fir_in_arm5, &fir_out_arm5, 1);
		signalfilteredbuffer0[i] = fir_out_arm0;
		signalfilteredbuffer1[i] = fir_out_arm1;
		signalfilteredbuffer2[i] = fir_out_arm2;
		signalfilteredbuffer3[i] = fir_out_arm3;
		signalfilteredbuffer4[i] = fir_out_arm4;
		signalfilteredbuffer5[i] = fir_out_arm5;
	}
	HAL_GPIO_TogglePin(DMAOutput_GPIO_Port, DMAOutput_Pin);
	//Decymacja
	for (int i = 0; i < 2 * BUFLEN; i++) {
		signal0filtered[i] = signalfilteredbuffer0[i];
		signal1filtered[i] = signalfilteredbuffer1[i];
		signal2filtered[i] = signalfilteredbuffer2[i];
	}
	for (int i = 0; i < BUFLEN; i++) {
		signal4filtered[i] = signalfilteredbuffer4[i*2];
		signal5filtered[i] = signalfilteredbuffer5[i*2];
	}
	for (int i = 0; i < BUFLEN / 2; i++){
		signal3filtered[i] = signalfilteredbuffer3[i*4];
	}

		//Obliczenie częstotliwości podstawowej
		calculateFFT(signal0filtered, 2*BUFLEN, &maxpp0, &fundamental0, 10000);
		fund[0] = (uint16_t)fundamental0;
		maxpp[0] = maxpp0;

		calculateFFT(signal1filtered, 2*BUFLEN, &maxpp1, &fundamental1, 10000);
		fund[1] = (uint16_t)fundamental1;
		maxpp[1] = maxpp1;

		calculateFFT(signal2filtered, 2*BUFLEN, &maxpp2, &fundamental2, 10000);
		fund[2] = (uint16_t)fundamental2;
		maxpp[2] = maxpp2;

		calculateFFT(signal3filtered, BUFLEN/2, &maxpp3, &fundamental3, 2500);
		fund[3] = (uint16_t) fundamental3;
		maxpp[3] = maxpp3;

		calculateFFT(signal4filtered, BUFLEN, &maxpp4, &fundamental4, 5000);
		fund[4] = (uint16_t)fundamental4;
		maxpp[4] = maxpp4;

		calculateFFT(signal5filtered, BUFLEN, &maxpp5, &fundamental5, 5000);
		fund[5] = (uint16_t)fundamental5;
		maxpp[5] = maxpp5;

	// Jeśli fund[i] i fund[j] mają takie same wartości, wyzeruj mniejsze maxpp (crosstalk)
	for (int i = 0; i < 6; i++) {
	    for (int j = i + 1; j < 6; j++) {
	        if (fund[i] == fund[j]) {
	            if (maxpp[i] < maxpp[j]) {
	                maxpp[i] = 0;
	            } else {
	                maxpp[j] = 0;
	            }
	        }
	    }
	}

	uint16_t data[12];
	data[0] = fund[3];
	data[1] = fund[5];
	data[2] = fund[4];
	data[3] = fund[0];
	data[4] = fund[1];
	data[5] = fund[2];
	data[6] = maxpp[3];
	data[7] = maxpp[5];
	data[8] = maxpp[4];
	data[9] = maxpp[0];
	data[10] = maxpp[1];
	data[11] = maxpp[2];

	HAL_UART_Transmit_DMA(&huart3, (uint8_t *)data, sizeof(data) * 2);
	HAL_UART_Transmit(&huart3, (uint8_t *)data, 24, 10);

	FundamentalToNote(fund, NoteNew, FreqRange);
	for (int i =0; i<6; i++){
			Delta[i] = maxpp[i] - maxppOld[i];
			if(Delta[i]<0)
				Delta[i]=0;
			maxppOld[i] = maxpp[i];
		}
		for (int i = 0; i < 6; i++) {
			if (Delta[i] <= Treshold[i]) {
				if (NoteNew[i] != 0) {
					txBuffer[0] = 128;
					txBuffer[1] = NoteOld[i] + 39;
					txBuffer[2] = 127;
					txBuffer[3] = 144;
					txBuffer[4] = NoteNew[i] + 39;
					txBuffer[5] = 127;
					if (txBuffer[4] == 39) {
						txBuffer[5] = 1;
					}
					NoteOld[i] = NoteNew[i];
					HAL_UART_Transmit(&huart2, txBuffer, 6, 10);
				}
			}
		}
}
/* USER CODE END 4 */

void Error_Handler(void)
{
  __disable_irq();
  while (1)
  {
  }
}
